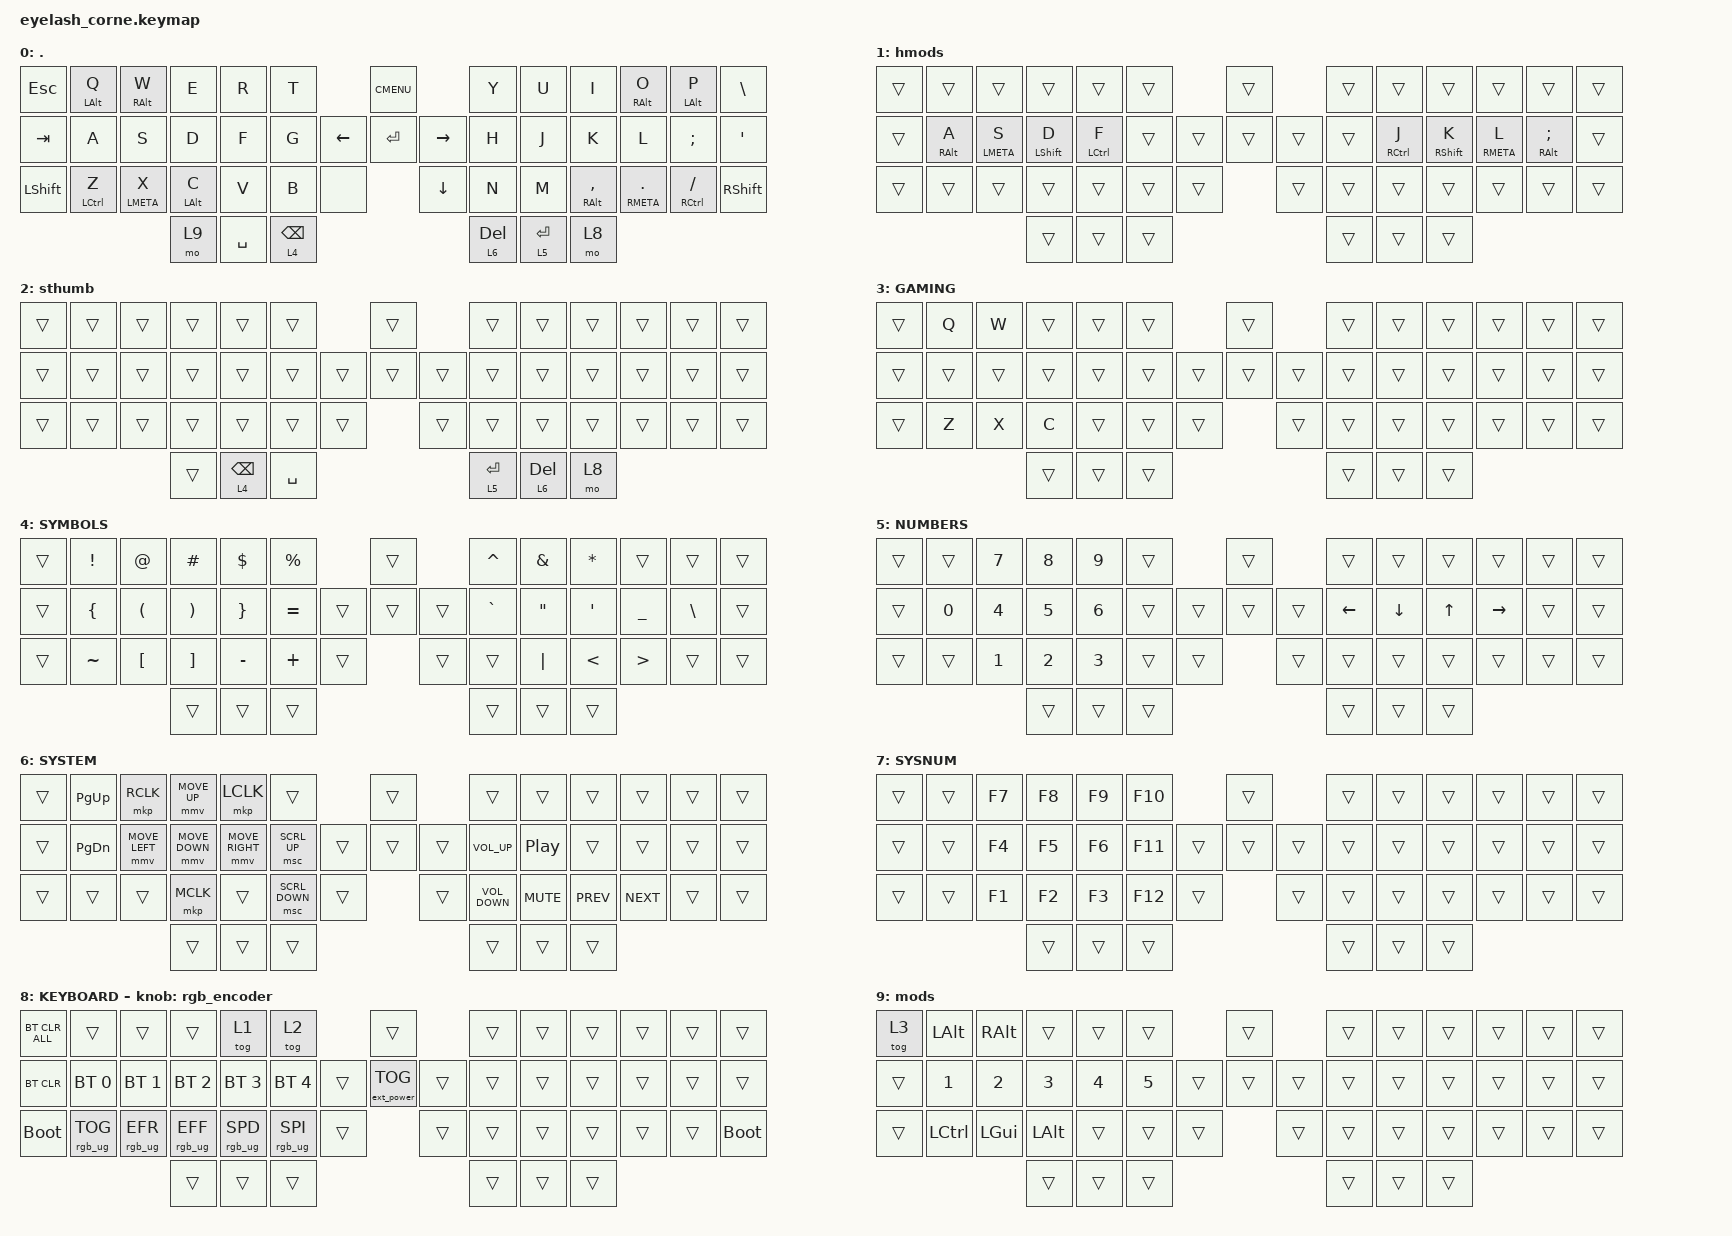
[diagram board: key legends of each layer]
#define ZMK_POINTING_DEFAULT_MOVE_VAL 1200  // 600
#define ZMK_POINTING_DEFAULT_SCRL_VAL 25   // 10

#include <input/processors.dtsi>
#include <zephyr/dt-bindings/input/input-event-codes.h>
#include <behaviors.dtsi>
#include <dt-bindings/zmk/bt.h>
#include <dt-bindings/zmk/ext_power.h>
#include <dt-bindings/zmk/keys.h>
#include <dt-bindings/zmk/pointing.h>
#include <dt-bindings/zmk/rgb.h>

&mmv_input_listener { input-processors = <&zip_xy_scaler 2 1>; };

&msc_input_listener { input-processors = <&zip_scroll_scaler 2 1>; };

&msc {
    acceleration-exponent = <1>;      // 0
    time-to-max-speed-ms = <100>;       // 300
    delay-ms = <0>;                   // 0
};

&mmv {
    time-to-max-speed-ms = <500>;
    acceleration-exponent = <1>;
    trigger-period-ms = <16>;
};

&soft_off { hold-time-ms = <2000>; };

&mt {
    flavor = "balanced";
    tapping-term-ms = <180>;
    quick-tap-ms = <160>;
};

&lt {
    flavor = "balanced";
    tapping-term-ms = <180>;
    quick-tap-ms = <160>;
};

/ {
    behaviors {
        rgb_encoder: rgb_encoder {
            compatible = "zmk,behavior-sensor-rotate";
            #sensor-binding-cells = <0>;
            bindings = <&rgb_ug RGB_BRI>, <&rgb_ug RGB_BRD>;
        };

        scroll_encoder: scroll_encoder {
            compatible = "zmk,behavior-sensor-rotate";
            #sensor-binding-cells = <0>;
            bindings = <&msc SCRL_DOWN>, <&msc SCRL_UP>;

            tap-ms = <100>;
        };

        h_mt: home_row_mod_tap {
            compatible = "zmk,behavior-hold-tap";
            #binding-cells = <2>;
            flavor = "tap-preferred";
            tapping-term-ms = <200>;
            bindings = <&kp>, <&kp>;

            display-name = "Mod-Tap";
            label = "H_MT";
            quick-tap-ms = <160>;
        };

        mo_tog: mo_tog {
            compatible = "zmk,behavior-hold-tap";
            #binding-cells = <2>;
            flavor = "balanced";
            tapping-term-ms = <180>;
            bindings = <&mo>, <&tog>;

            display-name = "Mod-Tap";
            label = "toggle layer on tap, momentary on hold";
            quick-tap-ms = <160>;
        };
    };

    combos {
        compatible = "zmk,combos";

        softoff {
            bindings = <&soft_off>;
            key-positions = <32 18 4>;
        };
    };

    macros {
        mo_layer_toggle: mo_layer_toggle {
            compatible = "zmk,behavior-macro-one-param";
            #binding-cells = <1>;
            bindings =
                <&macro_param_1to1 &tog MACRO_PLACEHOLDER>,
                <&macro_pause_for_release>,
                <&macro_param_1to1 &tog MACRO_PLACEHOLDER>;

            label = "MO_LAYER_TOGGLE";
        };
    };

    keymap {
        compatible = "zmk,keymap";

        default_layer {
            display-name = ".";
            bindings = <
&kp ESCAPE  &mt LALT Q   &mt RALT W   &kp E       &kp R      &kp T                          &kp K_CMENU             &kp Y         &kp U        &kp I           &mt RALT O     &mt LALT P      &kp BACKSLASH
&kp TAB     &kp A        &kp S        &kp D       &kp F      &kp G                &kp LEFT  &kp ENTER    &kp RIGHT  &kp H         &kp J        &kp K           &kp L          &kp SEMI        &kp SQT
&kp LSHIFT  &mt LCTRL Z  &mt LMETA X  &mt LALT C  &kp V      &kp B       &none              &kp DOWN                &kp N         &kp M        &mt RALT COMMA  &mt RMETA DOT  &mt RCTRL FSLH  &kp RSHIFT
                                      &mo 9       &kp SPACE  &lt 4 BSPC                                             &lt 6 DELETE  &lt 5 ENTER  &mo 8
            >;
        };

        hmods {
            bindings = <
&trans  &trans        &trans         &trans          &trans         &trans                    &trans          &trans  &trans         &trans          &trans         &trans                &trans
&trans  &h_mt RALT A  &h_mt LMETA S  &h_mt LSHIFT D  &h_mt LCTRL F  &trans            &trans  &trans  &trans  &trans  &h_mt RCTRL J  &h_mt RSHIFT K  &h_mt RMETA L  &h_mt RALT SEMICOLON  &trans
&trans  &trans        &trans         &trans          &trans         &trans  &trans            &trans          &trans  &trans         &trans          &trans         &trans                &trans
                                     &trans          &trans         &trans                                    &trans  &trans         &trans
            >;

            label = "hmods";
        };

        sthumb {
            bindings = <
&trans  &trans  &trans  &trans  &trans      &trans                       &trans          &trans       &trans        &trans  &trans  &trans  &trans
&trans  &trans  &trans  &trans  &trans      &trans               &trans  &trans  &trans  &trans       &trans        &trans  &trans  &trans  &trans
&trans  &trans  &trans  &trans  &trans      &trans     &trans            &trans          &trans       &trans        &trans  &trans  &trans  &trans
                        &trans  &lt 4 BSPC  &kp SPACE                                    &lt 5 ENTER  &lt 6 DELETE  &mo 8
            >;

            label = "sthumb";
        };

        gaming {
            label = "GAMING";
            bindings = <
&trans  &kp Q   &kp W   &trans  &trans  &trans                    &trans          &trans  &trans  &trans  &trans  &trans  &trans
&trans  &trans  &trans  &trans  &trans  &trans            &trans  &trans  &trans  &trans  &trans  &trans  &trans  &trans  &trans
&trans  &kp Z   &kp X   &kp C   &trans  &trans  &trans            &trans          &trans  &trans  &trans  &trans  &trans  &trans
                        &trans  &trans  &trans                                    &trans  &trans  &trans
            >;
        };

        symbols {
            bindings = <
&trans  &kp EXCL   &kp AT    &kp HASH  &kp DLLR   &kp PRCNT                    &trans          &kp CARET  &kp AMPS  &kp STAR  &trans     &trans    &trans
&trans  &kp LBRC   &kp LPAR  &kp RPAR  &kp RBRC   &kp EQUAL            &trans  &trans  &trans  &kp GRAVE  &kp DQT   &kp SQT   &kp UNDER  &kp BSLH  &trans
&trans  &kp TILDE  &kp LBKT  &kp RBKT  &kp MINUS  &kp PLUS   &trans            &trans          &trans     &kp PIPE  &kp LT    &kp GT     &trans    &trans
                             &trans    &trans     &trans                                       &trans     &trans    &trans
            >;

            label = "SYMBOLS";
        };

        numbers {
            bindings = <
&trans  &trans  &kp N7  &kp N8  &kp N9  &trans                    &trans          &trans    &trans    &trans  &trans     &trans  &trans
&trans  &kp N0  &kp N4  &kp N5  &kp N6  &trans            &trans  &trans  &trans  &kp LEFT  &kp DOWN  &kp UP  &kp RIGHT  &trans  &trans
&trans  &trans  &kp N1  &kp N2  &kp N3  &trans  &trans            &trans          &trans    &trans    &trans  &trans     &trans  &trans
                        &trans  &trans  &trans                                    &trans    &trans    &trans
            >;

            label = "NUMBERS";
        };

        system {
            bindings = <
&trans  &kp PG_UP  &mkp RCLK       &mmv MOVE_UP    &mkp LCLK        &trans                            &trans          &trans             &trans            &trans      &trans      &trans  &trans
&trans  &kp PG_DN  &mmv MOVE_LEFT  &mmv MOVE_DOWN  &mmv MOVE_RIGHT  &msc SCRL_UP              &trans  &trans  &trans  &kp C_VOLUME_UP    &kp C_PLAY_PAUSE  &trans      &trans      &trans  &trans
&trans  &trans     &trans          &mkp MCLK       &trans           &msc SCRL_DOWN  &trans            &trans          &kp C_VOLUME_DOWN  &kp K_MUTE        &kp C_PREV  &kp C_NEXT  &trans  &trans
                                   &trans          &trans           &trans                                            &trans             &trans            &trans
            >;

            label = "SYSTEM";
        };

        SYSNUM {
            bindings = <
&trans  &trans  &kp F7  &kp F8  &kp F9  &kp F10                    &trans          &trans  &trans  &trans  &trans  &trans  &trans
&trans  &trans  &kp F4  &kp F5  &kp F6  &kp F11            &trans  &trans  &trans  &trans  &trans  &trans  &trans  &trans  &trans
&trans  &trans  &kp F1  &kp F2  &kp F3  &kp F12  &trans            &trans          &trans  &trans  &trans  &trans  &trans  &trans
                        &trans  &trans  &trans                                     &trans  &trans  &trans
            >;

            label = "SYSNUM";
        };

        keyboard {
            bindings = <
&bt BT_CLR_ALL  &trans           &trans           &trans           &tog 1           &tog 2                             &trans                     &trans  &trans  &trans  &trans  &trans  &trans
&bt BT_CLR      &bt BT_SEL 0     &bt BT_SEL 1     &bt BT_SEL 2     &bt BT_SEL 3     &bt BT_SEL 4               &trans  &ext_power EP_TOG  &trans  &trans  &trans  &trans  &trans  &trans  &trans
&bootloader     &rgb_ug RGB_TOG  &rgb_ug RGB_EFR  &rgb_ug RGB_EFF  &rgb_ug RGB_SPD  &rgb_ug RGB_SPI  &trans            &trans                     &trans  &trans  &trans  &trans  &trans  &bootloader
                                                  &trans           &trans           &trans                                                        &trans  &trans  &trans
            >;

            label = "KEYBOARD";
            sensor-bindings = <&rgb_encoder>;
        };

        mods {
            bindings = <
&tog 3  &kp LALT   &kp RALT  &trans    &trans  &trans                    &trans          &trans  &trans  &trans  &trans  &trans  &trans
&trans  &kp N1     &kp N2    &kp N3    &kp N4  &kp N5            &trans  &trans  &trans  &trans  &trans  &trans  &trans  &trans  &trans
&trans  &kp LCTRL  &kp LGUI  &kp LALT  &trans  &trans  &trans            &trans          &trans  &trans  &trans  &trans  &trans  &trans
                             &trans    &trans  &trans                                    &trans  &trans  &trans
            >;

            label = "mods";
        };
    };

    conditional_layers {
        compatible = "zmk,conditional-layers";

        sysnum {
            if-layers = <5 6>;
            then-layer = <7>;
        };
    };
};
